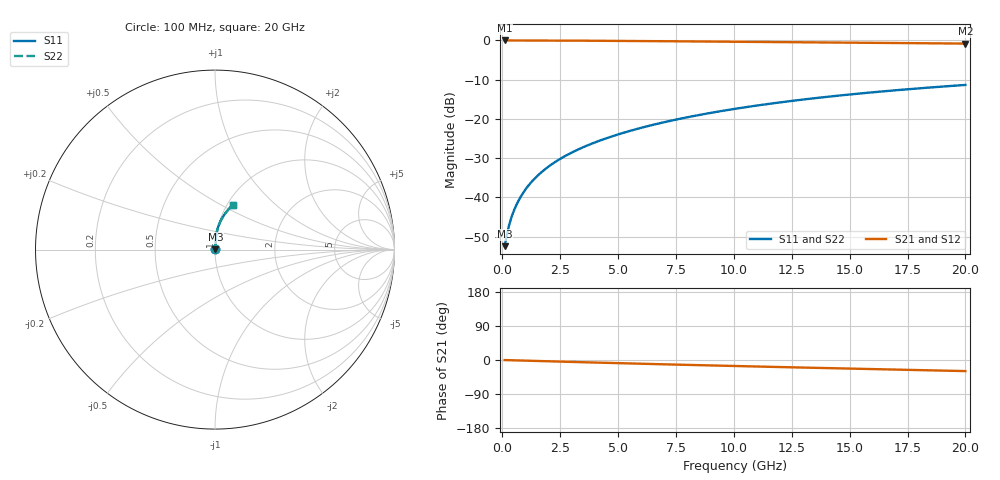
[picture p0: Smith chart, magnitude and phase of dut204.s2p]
! Touchstone file exported from HFSS 2024.1.0
!  File:  C:/UserFiles/LocalFiles/RDL_TSV_Batchsim/temp_RDL_bottom_204_1778699692.aedt
!  Generated:  03:17:11 AM May 14, 2026
!  Design:  RDL_bottom
!  Project:  temp_RDL_bottom_204_1778699692
!  Setup:  Setup1
!  Solution:  Sweep
! Variables:
!  dtsv = 10.80580581um
!  hbump = 3um
!  htsv = 91.71um
!  ldown = 415.92um
!  lrdl = 100um
!  p = 40
!  p1 = 45um
!  rhole = 1um
!  t = 450um
!  tdown = 3.87um
!  trdl = 3.915915916um
!  wdown = 21.48um
!  wrdl = 20um
# GHz S MA R 50.000000
! Terminal data exported
! Port[1] = RDL1_T1
! Port[2] = RDL1_T2
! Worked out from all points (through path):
!   200 points, 100 MHz to 20 GHz, reference 50 ohm
!   highest |S21| = -0.02 dB at 100 MHz (marker M1); lowest = -0.8 dB at 20 GHz (marker M2)
!   group delay of S21, straight-line fit = 4.03 ps
!   lowest |S11| = -52.4 dB at 100 MHz (marker M3), VSWR 1.00, Z = 50.2 + j0.138 ohm
!   |S11| at or under -10 dB: start of sweep to end of sweep
!   |S22| runs from -52.4 to -11.3 dB; largest |S21 - S12| = 2.1e-15
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0.1  0.002396 34.9  0.998 -0.2  0.998 -0.2  0.002396 34.9
! Gamma 0 0 0 0
! Port Impedance 50 0 50 0
0.2  0.00339 52.5  0.9979 -0.4  0.9979 -0.4  0.00339 52.5
0.3  0.004504 61.2  0.9978 -0.5  0.9978 -0.5  0.004504 61.2
0.4  0.005638 66.4  0.9977 -0.7  0.9977 -0.7  0.005638 66.4
0.5  0.006781 70.0  0.9975 -0.9  0.9975 -0.9  0.006781 70.0
0.6  0.007933 72.6  0.9974 -1.0  0.9974 -1.0  0.007933 72.6
0.8  0.01026 76.3  0.9972 -1.4  0.9972 -1.4  0.01026 76.3
1.1  0.01382 79.6  0.9968 -1.9  0.9968 -1.9  0.01382 79.6
1.3  0.01622 81.0  0.9966 -2.2  0.9966 -2.2  0.01622 81.0
1.6  0.01986 82.6  0.9961 -2.7  0.9961 -2.7  0.01986 82.6
2.1  0.02601 84.1  0.995 -3.6  0.995 -3.6  0.02601 84.1
2.7  0.0335 85.2  0.9935 -4.6  0.9935 -4.6  0.0335 85.2
3.5  0.04369 85.8  0.991 -5.9  0.991 -5.9  0.04369 85.8
4.2  0.05281 86.0  0.9885 -7.1  0.9885 -7.1  0.05281 86.0
5  0.06345 85.9  0.9852 -8.3  0.9852 -8.3  0.06345 85.9
6.8  0.08817 84.9  0.977 -11.1  0.977 -11.1  0.08817 84.9
8.4  0.1108 83.4  0.9693 -13.5  0.9693 -13.5  0.1108 83.4
10.1  0.1352 81.4  0.9608 -16.0  0.9608 -16.0  0.1352 81.4
11.7  0.1582 79.3  0.9527 -18.2  0.9527 -18.2  0.1582 79.3
13.4  0.1823 77.0  0.9442 -20.5  0.9442 -20.5  0.1823 77.0
16.7  0.2279 72.3  0.9274 -25.0  0.9274 -25.0  0.2279 72.3
20  0.2708 67.7  0.9104 -29.2  0.9104 -29.2  0.2708 67.7
